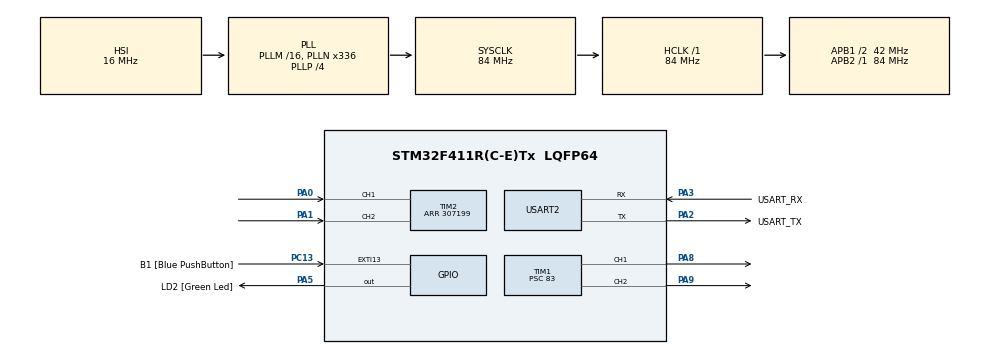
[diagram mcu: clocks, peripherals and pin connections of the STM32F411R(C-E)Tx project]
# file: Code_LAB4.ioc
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Mcu.Family=STM32F4
Mcu.Name=STM32F411R(C-E)Tx
Mcu.Package=LQFP64
NVIC.PriorityGroup=NVIC_PRIORITYGROUP_0
PA0-WKUP.Signal=S_TIM2_CH1_ETR
PA1.Signal=S_TIM2_CH2
PA13.GPIO_Label=TMS
PA13.Mode=Serial_Wire
PA13.Signal=SYS_JTMS-SWDIO
PA14.GPIO_Label=TCK
PA14.Mode=Serial_Wire
PA14.Signal=SYS_JTCK-SWCLK
PA2.GPIO_Label=USART_TX
PA2.Mode=Asynchronous
PA2.Signal=USART2_TX
PA3.GPIO_Label=USART_RX
PA3.Mode=Asynchronous
PA3.Signal=USART2_RX
PA5.GPIO_Label=LD2 [Green Led]
PA5.Signal=GPIO_Output
PA8.Signal=S_TIM1_CH1
PA9.Signal=S_TIM1_CH2
PB3.GPIO_Label=SWO
PB3.Signal=SYS_JTDO-SWO
PC13-ANTI_TAMP.GPIO_Label=B1 [Blue PushButton]
PC13-ANTI_TAMP.GPIO_ModeDefaultEXTI=GPIO_MODE_IT_FALLING
PC13-ANTI_TAMP.Signal=GPXTI13
PC14-OSC32_IN.Mode=LSE-External-Oscillator
PC14-OSC32_IN.Signal=RCC_OSC32_IN
PC15-OSC32_OUT.Mode=LSE-External-Oscillator
PC15-OSC32_OUT.Signal=RCC_OSC32_OUT
PH0\ -\ OSC_IN.Mode=HSE-External-Clock-Source
PH0\ -\ OSC_IN.Signal=RCC_OSC_IN
PH1\ -\ OSC_OUT.Mode=HSE-External-Clock-Source
PH1\ -\ OSC_OUT.Signal=RCC_OSC_OUT
ProjectManager.HeapSize=0x200
ProjectManager.StackSize=0x400
ProjectManager.TargetToolchain=STM32CubeIDE
RCC.48MHZClocksFreq_Value=84000000
RCC.AHBFreq_Value=84000000
RCC.APB1CLKDivider=RCC_HCLK_DIV2
RCC.APB1Freq_Value=42000000
RCC.APB1TimFreq_Value=84000000
RCC.APB2Freq_Value=84000000
RCC.APB2TimFreq_Value=84000000
RCC.CortexFreq_Value=84000000
RCC.FLatency-AdvancedSettings=FLASH_LATENCY_2
RCC.HCLKFreq_Value=84000000
RCC.HSE_VALUE=8000000
RCC.HSI_VALUE=16000000
RCC.PLLN=336
RCC.PLLP=RCC_PLLP_DIV4
RCC.SYSCLKFreq_VALUE=84000000
RCC.SYSCLKSource=RCC_SYSCLKSOURCE_PLLCLK
RCC.VCOOutputFreq_Value=336000000
SH.S_TIM1_CH1.0=TIM1_CH1,PWM Generation1 CH1
SH.S_TIM1_CH2.0=TIM1_CH2,PWM Generation2 CH2
SH.S_TIM2_CH1_ETR.0=TIM2_CH1,Encoder_Interface
SH.S_TIM2_CH2.0=TIM2_CH2,Encoder_Interface
TIM1.Channel-PWM\ Generation1\ CH1=TIM_CHANNEL_1
TIM1.Channel-PWM\ Generation2\ CH2=TIM_CHANNEL_2
TIM1.Period=999
TIM1.Prescaler=83
TIM1.Pulse-PWM\ Generation1\ CH1=500
TIM1.Pulse-PWM\ Generation2\ CH2=500
TIM2.EncoderMode=TIM_ENCODERMODE_TI12
TIM2.Period=307199
USART2.VirtualMode=VM_ASYNC
VP_TIM1_VS_ClockSourceINT.Mode=Internal
board=NUCLEO-F411RE

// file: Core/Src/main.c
/* USER CODE BEGIN Header */
/**
  ******************************************************************************
  * @file           : main.c
  * @brief          : Main program body
  ******************************************************************************
  * @attention
  *
  * Copyright (c) 2023 STMicroelectronics.
  * All rights reserved.
  *
  * This software is licensed under terms that can be found in the LICENSE file
  * in the root directory of this software component.
  * If no LICENSE file comes with this software, it is provided AS-IS.
  *
  ******************************************************************************
  */
/* USER CODE END Header */
#include "main.h"

/* USER CODE BEGIN Includes */
#include  "arm_math.h"
/* USER CODE END Includes */

TIM_HandleTypeDef htim1;
TIM_HandleTypeDef htim2;

UART_HandleTypeDef huart2;

/* USER CODE BEGIN PV */
//QEI
int32_t QEIReadRaw;
int16_t QEIReadRaw_ARound;
float Angle;
float Angle_ARound;

//PWM
int64_t dutyCCW = 0;
int64_t dutyCW = 0;

//PID
arm_pid_instance_f32 PID = {0}; //struct PID and set all to 0
float pos = 0;
float set_pos = 0;
float Vfeedback = 0;
float Ess = 0;
//Protect
float Before_QEIReadRaw = 0;
/* USER CODE END PV */

void SystemClock_Config(void);
static void MX_GPIO_Init(void);
static void MX_USART2_UART_Init(void);
static void MX_TIM2_Init(void);
static void MX_TIM1_Init(void);

int main(void)
{

  /* MCU Configuration--------------------------------------------------------*/

  /* Reset of all peripherals, Initializes the Flash interface and the Systick. */
  HAL_Init();

  /* Configure the system clock */
  SystemClock_Config();

  /* Initialize all configured peripherals */
  MX_GPIO_Init();
  MX_USART2_UART_Init();
  MX_TIM2_Init();
  MX_TIM1_Init();
  /* USER CODE BEGIN 2 */
  //QEI
  HAL_TIM_Encoder_Start(&htim2, TIM_CHANNEL_1|TIM_CHANNEL_2);
  //PWM
  HAL_TIM_Base_Start(&htim1);
  HAL_TIM_PWM_Start(&htim1, TIM_CHANNEL_1);
  HAL_TIM_PWM_Start(&htim1, TIM_CHANNEL_2);
  //PID
  PID.Kp = 0.12; //set P
  PID.Ki = 0; //set I
  PID.Kd = 0;//set D
  arm_pid_init_f32(&PID, 0);//Update value to PID calculation
  /* USER CODE END 2 */

  /* Infinite loop */
  while (1)
  {

    /* USER CODE BEGIN 3 */
	  QEIReadRaw = __HAL_TIM_GET_COUNTER(&htim2); // READ LSB
	  //Protect
	  if(Before_QEIReadRaw - QEIReadRaw <= -200000) QEIReadRaw = 0;
	  if(Before_QEIReadRaw - QEIReadRaw >= 200000) QEIReadRaw = 307199;

	  QEIReadRaw_ARound = QEIReadRaw % 3072; // READ LSB of 1 Round
	  Angle = QEIReadRaw * (36000.0/307200.0); // READ Angle
	  Angle_ARound = QEIReadRaw_ARound * (360.0/3072.0); // READ Angle of 1 Round

	 static uint32_t timestamp = 0;
	  	  if(timestamp < HAL_GetTick()){
	  		timestamp = HAL_GetTick() + 10;// 100 HZ
	  		pos = Angle;
	  		Ess = set_pos - pos; //Tracking Error
	  		Vfeedback = arm_pid_f32(&PID, Ess); //Calculate U(s)
	  		if(Vfeedback > 0){ //Want CW
	  			dutyCCW = 0;
	  			dutyCW = Vfeedback*(1000/5); //Find % of Voltage
	  			if(dutyCW >= 1000) dutyCW = 1000; //MAX duty
	  			else if(dutyCW <= 0) dutyCW = 100; //MIN duty
	  		}
	  		else if(Vfeedback < 0){ //Want CCW
	  			dutyCW = 0;
				dutyCCW = -1*Vfeedback*(1000/5); // -1 to protect -duty
				if(dutyCCW >= 1000) dutyCCW = 1000; //MAX duty
				else if(dutyCCW <= 0) dutyCCW = 100; //MIN duty
	  		}
	  	  }
	  	__HAL_TIM_SET_COMPARE(&htim1,TIM_CHANNEL_1,dutyCW); //Set duty CW
	  	__HAL_TIM_SET_COMPARE(&htim1,TIM_CHANNEL_2,dutyCCW); //Set duty CCW
	  	Before_QEIReadRaw = QEIReadRaw;
  }
  /* USER CODE END 3 */
}

void SystemClock_Config(void)
{
  RCC_OscInitTypeDef RCC_OscInitStruct = {0};
  RCC_ClkInitTypeDef RCC_ClkInitStruct = {0};

  /** Configure the main internal regulator output voltage
  */
  __HAL_RCC_PWR_CLK_ENABLE();
  __HAL_PWR_VOLTAGESCALING_CONFIG(PWR_REGULATOR_VOLTAGE_SCALE1);

  /** Initializes the RCC Oscillators according to the specified parameters
  * in the RCC_OscInitTypeDef structure.
  */
  RCC_OscInitStruct.OscillatorType = RCC_OSCILLATORTYPE_HSI;
  RCC_OscInitStruct.HSIState = RCC_HSI_ON;
  RCC_OscInitStruct.HSICalibrationValue = RCC_HSICALIBRATION_DEFAULT;
  RCC_OscInitStruct.PLL.PLLState = RCC_PLL_ON;
  RCC_OscInitStruct.PLL.PLLSource = RCC_PLLSOURCE_HSI;
  RCC_OscInitStruct.PLL.PLLM = 16;
  RCC_OscInitStruct.PLL.PLLN = 336;
  RCC_OscInitStruct.PLL.PLLP = RCC_PLLP_DIV4;
  RCC_OscInitStruct.PLL.PLLQ = 4;
  if (HAL_RCC_OscConfig(&RCC_OscInitStruct) != HAL_OK)
  {
    Error_Handler();
  }

  /** Initializes the CPU, AHB and APB buses clocks
  */
  RCC_ClkInitStruct.ClockType = RCC_CLOCKTYPE_HCLK|RCC_CLOCKTYPE_SYSCLK
                              |RCC_CLOCKTYPE_PCLK1|RCC_CLOCKTYPE_PCLK2;
  RCC_ClkInitStruct.SYSCLKSource = RCC_SYSCLKSOURCE_PLLCLK;
  RCC_ClkInitStruct.AHBCLKDivider = RCC_SYSCLK_DIV1;
  RCC_ClkInitStruct.APB1CLKDivider = RCC_HCLK_DIV2;
  RCC_ClkInitStruct.APB2CLKDivider = RCC_HCLK_DIV1;

  if (HAL_RCC_ClockConfig(&RCC_ClkInitStruct, FLASH_LATENCY_2) != HAL_OK)
  {
    Error_Handler();
  }
}

static void MX_TIM1_Init(void)
{

  TIM_ClockConfigTypeDef sClockSourceConfig = {0};
  TIM_MasterConfigTypeDef sMasterConfig = {0};
  TIM_OC_InitTypeDef sConfigOC = {0};
  TIM_BreakDeadTimeConfigTypeDef sBreakDeadTimeConfig = {0};

  htim1.Instance = TIM1;
  htim1.Init.Prescaler = 83;
  htim1.Init.CounterMode = TIM_COUNTERMODE_UP;
  htim1.Init.Period = 999;
  htim1.Init.ClockDivision = TIM_CLOCKDIVISION_DIV1;
  htim1.Init.RepetitionCounter = 0;
  htim1.Init.AutoReloadPreload = TIM_AUTORELOAD_PRELOAD_DISABLE;
  if (HAL_TIM_Base_Init(&htim1) != HAL_OK)
  {
    Error_Handler();
  }
  sClockSourceConfig.ClockSource = TIM_CLOCKSOURCE_INTERNAL;
  if (HAL_TIM_ConfigClockSource(&htim1, &sClockSourceConfig) != HAL_OK)
  {
    Error_Handler();
  }
  if (HAL_TIM_PWM_Init(&htim1) != HAL_OK)
  {
    Error_Handler();
  }
  sMasterConfig.MasterOutputTrigger = TIM_TRGO_RESET;
  sMasterConfig.MasterSlaveMode = TIM_MASTERSLAVEMODE_DISABLE;
  if (HAL_TIMEx_MasterConfigSynchronization(&htim1, &sMasterConfig) != HAL_OK)
  {
    Error_Handler();
  }
  sConfigOC.OCMode = TIM_OCMODE_PWM1;
  sConfigOC.Pulse = 500;
  sConfigOC.OCPolarity = TIM_OCPOLARITY_HIGH;
  sConfigOC.OCNPolarity = TIM_OCNPOLARITY_HIGH;
  sConfigOC.OCFastMode = TIM_OCFAST_DISABLE;
  sConfigOC.OCIdleState = TIM_OCIDLESTATE_RESET;
  sConfigOC.OCNIdleState = TIM_OCNIDLESTATE_RESET;
  if (HAL_TIM_PWM_ConfigChannel(&htim1, &sConfigOC, TIM_CHANNEL_1) != HAL_OK)
  {
    Error_Handler();
  }
  if (HAL_TIM_PWM_ConfigChannel(&htim1, &sConfigOC, TIM_CHANNEL_2) != HAL_OK)
  {
    Error_Handler();
  }
  sBreakDeadTimeConfig.OffStateRunMode = TIM_OSSR_DISABLE;
  sBreakDeadTimeConfig.OffStateIDLEMode = TIM_OSSI_DISABLE;
  sBreakDeadTimeConfig.LockLevel = TIM_LOCKLEVEL_OFF;
  sBreakDeadTimeConfig.DeadTime = 0;
  sBreakDeadTimeConfig.BreakState = TIM_BREAK_DISABLE;
  sBreakDeadTimeConfig.BreakPolarity = TIM_BREAKPOLARITY_HIGH;
  sBreakDeadTimeConfig.AutomaticOutput = TIM_AUTOMATICOUTPUT_DISABLE;
  if (HAL_TIMEx_ConfigBreakDeadTime(&htim1, &sBreakDeadTimeConfig) != HAL_OK)
  {
    Error_Handler();
  }
  HAL_TIM_MspPostInit(&htim1);

}

static void MX_TIM2_Init(void)
{

  TIM_Encoder_InitTypeDef sConfig = {0};
  TIM_MasterConfigTypeDef sMasterConfig = {0};

  htim2.Instance = TIM2;
  htim2.Init.Prescaler = 0;
  htim2.Init.CounterMode = TIM_COUNTERMODE_UP;
  htim2.Init.Period = 307199;
  htim2.Init.ClockDivision = TIM_CLOCKDIVISION_DIV1;
  htim2.Init.AutoReloadPreload = TIM_AUTORELOAD_PRELOAD_DISABLE;
  sConfig.EncoderMode = TIM_ENCODERMODE_TI12;
  sConfig.IC1Polarity = TIM_ICPOLARITY_RISING;
  sConfig.IC1Selection = TIM_ICSELECTION_DIRECTTI;
  sConfig.IC1Prescaler = TIM_ICPSC_DIV1;
  sConfig.IC1Filter = 0;
  sConfig.IC2Polarity = TIM_ICPOLARITY_RISING;
  sConfig.IC2Selection = TIM_ICSELECTION_DIRECTTI;
  sConfig.IC2Prescaler = TIM_ICPSC_DIV1;
  sConfig.IC2Filter = 0;
  if (HAL_TIM_Encoder_Init(&htim2, &sConfig) != HAL_OK)
  {
    Error_Handler();
  }
  sMasterConfig.MasterOutputTrigger = TIM_TRGO_RESET;
  sMasterConfig.MasterSlaveMode = TIM_MASTERSLAVEMODE_DISABLE;
  if (HAL_TIMEx_MasterConfigSynchronization(&htim2, &sMasterConfig) != HAL_OK)
  {
    Error_Handler();
  }

}

static void MX_USART2_UART_Init(void)
{

  huart2.Instance = USART2;
  huart2.Init.BaudRate = 115200;
  huart2.Init.WordLength = UART_WORDLENGTH_8B;
  huart2.Init.StopBits = UART_STOPBITS_1;
  huart2.Init.Parity = UART_PARITY_NONE;
  huart2.Init.Mode = UART_MODE_TX_RX;
  huart2.Init.HwFlowCtl = UART_HWCONTROL_NONE;
  huart2.Init.OverSampling = UART_OVERSAMPLING_16;
  if (HAL_UART_Init(&huart2) != HAL_OK)
  {
    Error_Handler();
  }

}

static void MX_GPIO_Init(void)
{
  GPIO_InitTypeDef GPIO_InitStruct = {0};

  /* GPIO Ports Clock Enable */
  __HAL_RCC_GPIOC_CLK_ENABLE();
  __HAL_RCC_GPIOH_CLK_ENABLE();
  __HAL_RCC_GPIOA_CLK_ENABLE();
  __HAL_RCC_GPIOB_CLK_ENABLE();

  /*Configure GPIO pin Output Level */
  HAL_GPIO_WritePin(LD2_GPIO_Port, LD2_Pin, GPIO_PIN_RESET);

  /*Configure GPIO pin : B1_Pin */
  GPIO_InitStruct.Pin = B1_Pin;
  GPIO_InitStruct.Mode = GPIO_MODE_IT_FALLING;
  GPIO_InitStruct.Pull = GPIO_NOPULL;
  HAL_GPIO_Init(B1_GPIO_Port, &GPIO_InitStruct);

  /*Configure GPIO pin : LD2_Pin */
  GPIO_InitStruct.Pin = LD2_Pin;
  GPIO_InitStruct.Mode = GPIO_MODE_OUTPUT_PP;
  GPIO_InitStruct.Pull = GPIO_NOPULL;
  GPIO_InitStruct.Speed = GPIO_SPEED_FREQ_LOW;
  HAL_GPIO_Init(LD2_GPIO_Port, &GPIO_InitStruct);

}

void Error_Handler(void)
{
  __disable_irq();
  while (1)
  {
  }
}
